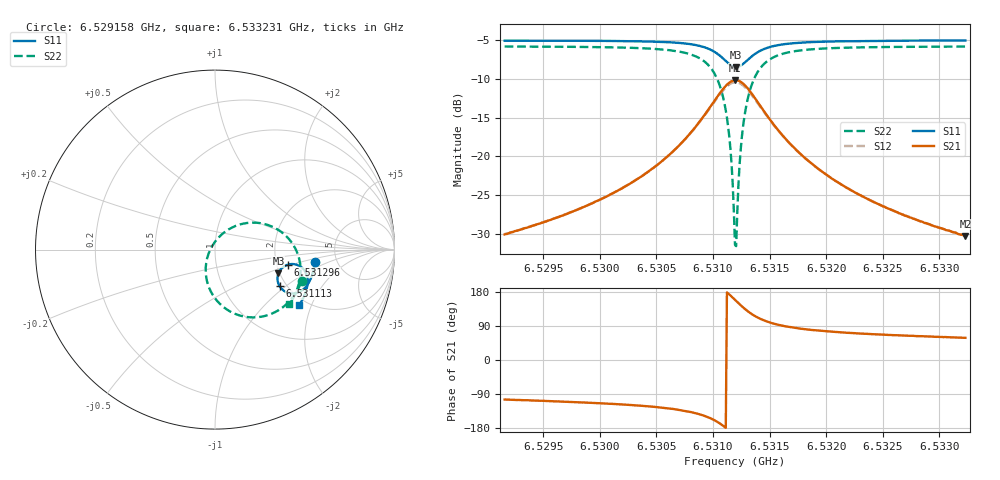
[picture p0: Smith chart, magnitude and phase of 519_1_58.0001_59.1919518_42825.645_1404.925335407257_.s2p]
#  HZ  S  RI  R  50.00
! Rohde & Schwarz Vector Network Analyzer
! Rohde-Schwarz,ZNB20-2Port,1311601062101988,3.16
! Created: UTC 3/21/2024, 1:13:36 AM
! freq[Hz]  re:S11  im:S11  re:S21  im:S21  re:S12  im:S12  re:S22  im:S22
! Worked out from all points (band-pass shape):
!   401 points, 6.529158 GHz to 6.533231 GHz, reference 50 ohm
!   highest |S21| = -10.14 dB at 6.531195 GHz (marker M1); lowest = -30.3 dB at 6.533231 GHz (marker M2)
!   |S21| within 3 dB of the highest: 6.530997 GHz to 6.531403 GHz (406.4 kHz wide, 0.00622 % of centre)
!   lowest |S11| = -8.5 dB at 6.531205 GHz (marker M3), VSWR 2.21, Z = 98.5 - j30.4 ohm
!   |S11| at or under -10 dB: nowhere
!   |S22| runs from -31.6 to -5.8 dB; largest |S21 - S12| = 0.012
!   S11 on the Smith chart (normalised r, x): 6.529158 GHz: 3.40, -0.70; 6.531113 GHz: 1.84, -0.91; 6.531296 GHz: 2.30, -0.47; 6.533231 GHz: 1.82, -1.64
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6.5291581e9  0.5562 -0.0707  -0.00782 -0.0303  -0.00835 -0.0304  0.4837 -0.1744
6.5298403e9  0.5451 -0.1272  -0.0175 -0.0432  -0.0184 -0.0429  0.4523 -0.2376
6.5305225e9  0.5158 -0.195  -0.0515 -0.0737  -0.0535 -0.0724  0.3704 -0.3267
6.5307669e9  0.4867 -0.2257  -0.0939 -0.0938  -0.0967 -0.0906  0.285 -0.3678
6.53094e9  0.4411 -0.2436  -0.1649 -0.0986  -0.1669 -0.0919  0.1546 -0.3713
6.5310418e9  0.3948 -0.2359  -0.2361 -0.0683  -0.2348 -0.0586  0.0347 -0.3092
6.5311131e9  0.3605 -0.2049  -0.2863 -0.00473  -0.2796 0.00498  -0.0395 -0.1943
6.5311335e9  0.3535 -0.191  -0.2949 0.0216  -0.2868 0.0305  -0.0495 -0.1492
6.5311538e9  0.3492 -0.1752  -0.2991 0.051  -0.2896 0.0583  -0.0517 -0.1002
6.5311844e9  0.3491 -0.1493  -0.2948 0.0971  -0.2839 0.1019  -0.0367 -0.0251
6.5311946e9  0.3509 -0.1409  -0.2902 0.1124  -0.279 0.1161  -0.0268 -0.000914
6.5312047e9  0.3536 -0.1324  -0.284 0.1273  -0.2728 0.1298  -0.0143 0.0221
6.5312149e9  0.3572 -0.1245  -0.2765 0.1412  -0.2654 0.1429  0.000199 0.0438
6.5312353e9  0.3667 -0.1099  -0.2579 0.1663  -0.2473 0.1661  0.0349 0.082
6.5312557e9  0.3787 -0.0983  -0.2353 0.1867  -0.2258 0.185  0.0748 0.112
6.5312964e9  0.4061 -0.0838  -0.1856 0.2117  -0.1786 0.2083  0.1609 0.1455
6.5313677e9  0.4508 -0.083  -0.1073 0.2149  -0.104 0.2116  0.2921 0.138
6.5314695e9  0.4897 -0.1057  -0.0401 0.1832  -0.0385 0.1813  0.4016 0.0699
6.5316222e9  0.5117 -0.1428  0.000233 0.1349  0.00133 0.1343  0.4617 -0.0275
6.5318768e9  0.5165 -0.1871  0.0168 0.0877  0.0178 0.0874  0.4768 -0.1268
6.532559e9  0.4971 -0.2578  0.0186 0.0418  0.0192 0.0416  0.4486 -0.2441
6.533231e9  0.4706 -0.3082  0.016 0.0261  0.0164 0.026  0.4139 -0.3044
